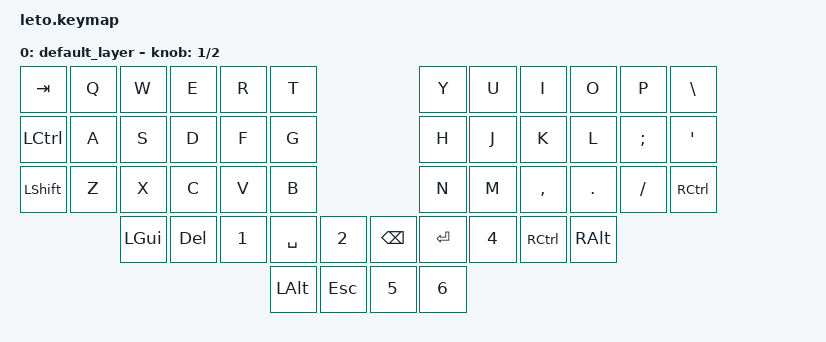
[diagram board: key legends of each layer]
#include <behaviors.dtsi>
#include <dt-bindings/zmk/keys.h>

/ {
    keymap {
        compatible = "zmk,keymap";

        default_layer {
// --------------------------------------------------------------------------------------------------------------------------------------------------------------------
// |   ESC   |    Q    |    W    |    E    |    R    |    T    |                                          |    Y    |    U    |    I    |    O    |    P    |    \    |
// |   TAB   |    A    |    S    |    D    |    F    |    G    |                                          |    H    |    J    |    K    |    L    |    ;    |    '    |
// |  SHIFT  |    Z    |    X    |    C    |    V    |    B    | CTRL+A  | CTRL+C  |  |  CTRL+V |  CTRL+X |    N    |    M    |    ,    |    .    |    /    |  R CTRL |
//                               |   GUI   |   DEL   | RETURN  |  SPACE  | ESCAPE  |  |  RETURN |  SPACE  |   TAB   |   BSPC  |  R ALT  |
           bindings = < 
&kp TAB   &kp Q     &kp W    &kp E     &kp R     &kp T                          &kp Y     &kp U     &kp I     &kp O     &kp P     &kp BSLH
&kp LCTRL &kp A     &kp S    &kp D     &kp F     &kp G                          &kp H     &kp J     &kp K     &kp L     &kp SEMI  &kp SQT
&kp LSHFT &kp Z     &kp X    &kp C     &kp V     &kp B                          &kp N     &kp M     &kp COMMA &kp DOT   &kp FSLH  &kp RCTRL
		            &kp LGUI &kp DEL   &kp N1    &kp SPACE  &kp N2    &kp BSPC  &kp RET   &kp N4     &kp RCTRL &kp RALT
                                                 &kp LALT   &kp ESC   &kp N5    &kp N6
           >;

		   sensor-bindings = <&inc_dec_kp N1 N2>;
        };
    };
};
